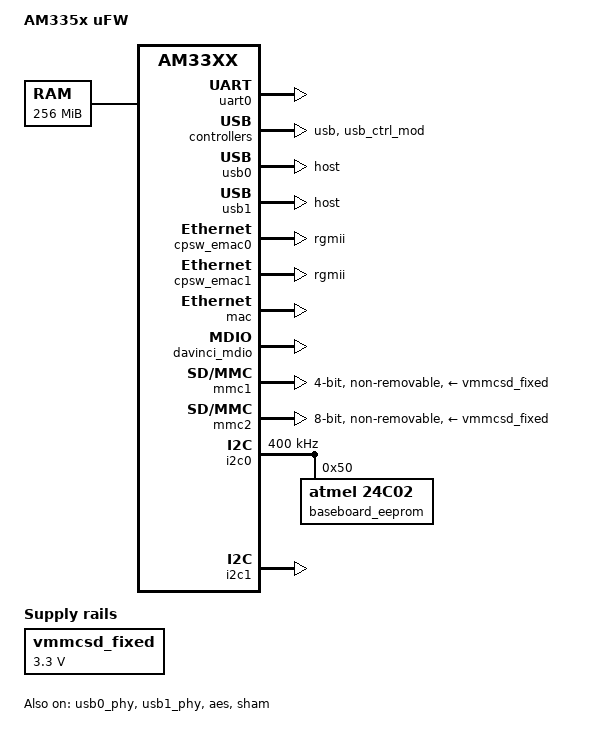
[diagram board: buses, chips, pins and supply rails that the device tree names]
/*-
 * Copyright (c) 2016, 2017 Rubicon Communications, LLC (Netgate)
 * All rights reserved.
 *
 * Redistribution and use in source and binary forms, with or without
 * modification, are permitted provided that the following conditions
 * are met:
 * 1. Redistributions of source code must retain the above copyright
 *    notice, this list of conditions and the following disclaimer.
 * 2. Redistributions in binary form must reproduce the above copyright
 *    notice, this list of conditions and the following disclaimer in the
 *    documentation and/or other materials provided with the distribution.
 *
 * THIS SOFTWARE IS PROVIDED BY THE AUTHOR AND CONTRIBUTORS ``AS IS'' AND
 * ANY EXPRESS OR IMPLIED WARRANTIES, INCLUDING, BUT NOT LIMITED TO, THE
 * IMPLIED WARRANTIES OF MERCHANTABILITY AND FITNESS FOR A PARTICULAR PURPOSE
 * ARE DISCLAIMED.  IN NO EVENT SHALL THE AUTHOR OR CONTRIBUTORS BE LIABLE
 * FOR ANY DIRECT, INDIRECT, INCIDENTAL, SPECIAL, EXEMPLARY, OR CONSEQUENTIAL
 * DAMAGES (INCLUDING, BUT NOT LIMITED TO, PROCUREMENT OF SUBSTITUTE GOODS
 * OR SERVICES; LOSS OF USE, DATA, OR PROFITS; OR BUSINESS INTERRUPTION)
 * HOWEVER CAUSED AND ON ANY THEORY OF LIABILITY, WHETHER IN CONTRACT, STRICT
 * LIABILITY, OR TORT (INCLUDING NEGLIGENCE OR OTHERWISE) ARISING IN ANY WAY
 * OUT OF THE USE OF THIS SOFTWARE, EVEN IF ADVISED OF THE POSSIBILITY OF
 * SUCH DAMAGE.
 * 
 * $FreeBSD$
 */

/dts-v1/;

#include "am33xx.dtsi"

/ {
	model = "AM335x uFW";
	compatible = "ti,am335x-ufw", "ti,am335x-ubmc", "ti,am33xx";

	memory {
		device_type = "memory";
		reg = <0x80000000 0x10000000>; /* 256 MB */
	};

	vmmcsd_fixed: fixedregulator@0 {
		compatible = "regulator-fixed";
		regulator-name = "vmmcsd_fixed";
		regulator-min-microvolt = <3300000>;
		regulator-max-microvolt = <3300000>;
	};
};

&am33xx_pinmux {
	pinctrl-names = "default";
	pinctrl-0 = <&clkout2_pin>;

	i2c0_pins: pinmux_i2c0_pins {
		pinctrl-single,pins = <
			AM33XX_IOPAD(0x988, PIN_INPUT_PULLUP | MUX_MODE0)	/* i2c0_sda.i2c0_sda */
			AM33XX_IOPAD(0x98c, PIN_INPUT_PULLUP | MUX_MODE0)	/* i2c0_scl.i2c0_scl */
		>;
	};

	i2c1_pins: pinmux_i2c1_pins {
		pinctrl-single,pins = <
			AM33XX_IOPAD(0x968, PIN_INPUT_PULLUP | MUX_MODE3)	/* uart0_ctsn.i2c1_sda */
			AM33XX_IOPAD(0x96c, PIN_INPUT_PULLUP | MUX_MODE3)	/* uart0_rtsn.i2c1_scl */
		>;
	};

	uart0_pins: pinmux_uart0_pins {
		pinctrl-single,pins = <
			AM33XX_IOPAD(0x970, PIN_INPUT_PULLUP | MUX_MODE0)	/* uart0_rxd.uart0_rxd */
			AM33XX_IOPAD(0x974, PIN_OUTPUT_PULLDOWN | MUX_MODE0)	/* uart0_txd.uart0_txd */
		>;
	};

	clkout2_pin: pinmux_clkout2_pin {
		pinctrl-single,pins = <
			AM33XX_IOPAD(0x9b4, PIN_OUTPUT_PULLDOWN | MUX_MODE3)	/* xdma_event_intr1.clkout2 */
		>;
	};

	cpsw_default: cpsw_default {
		pinctrl-single,pins = <
			/* Slave 1 */
			AM33XX_IOPAD(0x914, PIN_OUTPUT_PULLDOWN | MUX_MODE2)	/* mii1_txen.rgmii_1_txen */
			AM33XX_IOPAD(0x918, PIN_INPUT_PULLUP | MUX_MODE2)	/* mii1_rxdv.rgmii_1_rxdv */
			AM33XX_IOPAD(0x91c, PIN_OUTPUT_PULLDOWN | MUX_MODE2)	/* mii1_txd3.rgmii_1_txd3 */
			AM33XX_IOPAD(0x920, PIN_OUTPUT_PULLDOWN | MUX_MODE2)	/* mii1_txd2.rgmii_1_txd2 */
			AM33XX_IOPAD(0x924, PIN_OUTPUT_PULLDOWN | MUX_MODE2)	/* mii1_txd1.rgmii_1_txd1 */
			AM33XX_IOPAD(0x928, PIN_OUTPUT_PULLDOWN | MUX_MODE2)	/* mii1_txd0.rgmii_1_txd0 */
			AM33XX_IOPAD(0x92c, PIN_OUTPUT_PULLDOWN | MUX_MODE2)	/* mii1_txclk.rgmii_1_txclk */
			AM33XX_IOPAD(0x930, PIN_INPUT_PULLUP | MUX_MODE2)	/* mii1_rxclk.rgmii_1_rxclk */
			AM33XX_IOPAD(0x934, PIN_INPUT_PULLUP | MUX_MODE2)	/* mii1_rxd3.rgmii_1_rxd3 */
			AM33XX_IOPAD(0x938, PIN_INPUT_PULLUP | MUX_MODE2)	/* mii1_rxd2.rgmii_1_rxd2 */
			AM33XX_IOPAD(0x93c, PIN_INPUT_PULLUP | MUX_MODE2)	/* mii1_rxd1.rgmii_1_rxd1 */
			AM33XX_IOPAD(0x940, PIN_INPUT_PULLUP | MUX_MODE2)	/* mii1_rxd0.rgmii_1_rxd0 */

			/* Slave 2 */
			AM33XX_IOPAD(0x840, PIN_OUTPUT_PULLDOWN | MUX_MODE2)	/* gmpc_a0.rgmii_2_txen */
			AM33XX_IOPAD(0x844, PIN_INPUT_PULLUP | MUX_MODE2)	/* gmpc_a1.rgmii_2_rxdv */
			AM33XX_IOPAD(0x848, PIN_OUTPUT_PULLDOWN | MUX_MODE2)	/* gmpc_a2.rgmii_2_txd3 */
			AM33XX_IOPAD(0x84c, PIN_OUTPUT_PULLDOWN | MUX_MODE2)	/* gmpc_a3.rgmii_2_txd2 */
			AM33XX_IOPAD(0x850, PIN_OUTPUT_PULLDOWN | MUX_MODE2)	/* gmpc_a4.rgmii_2_txd1 */
			AM33XX_IOPAD(0x854, PIN_OUTPUT_PULLDOWN | MUX_MODE2)	/* gmpc_a5.rgmii_2_txd0 */
			AM33XX_IOPAD(0x858, PIN_OUTPUT_PULLDOWN | MUX_MODE2)	/* gmpc_a6.rgmii_2_txclk */
			AM33XX_IOPAD(0x85c, PIN_INPUT_PULLUP | MUX_MODE2)	/* gmpc_a7.rgmii_2_rxclk */
			AM33XX_IOPAD(0x860, PIN_INPUT_PULLUP | MUX_MODE2)	/* gmpc_a8.rgmii_2_rxd3 */
			AM33XX_IOPAD(0x864, PIN_INPUT_PULLUP | MUX_MODE2)	/* gmpc_a9.rgmii_2_rxd2 */
			AM33XX_IOPAD(0x868, PIN_INPUT_PULLUP | MUX_MODE2)	/* gmpc_a10.rgmii_2_rxd1 */
			AM33XX_IOPAD(0x86c, PIN_INPUT_PULLUP | MUX_MODE2)	/* gmpc_a11.rgmii_2_rxd0 */
		>;
	};

	cpsw_sleep: cpsw_sleep {
		pinctrl-single,pins = <
			/* Slave 1 reset value */
			AM33XX_IOPAD(0x914, PIN_INPUT_PULLDOWN | MUX_MODE7)
			AM33XX_IOPAD(0x918, PIN_INPUT_PULLDOWN | MUX_MODE7)
			AM33XX_IOPAD(0x91c, PIN_INPUT_PULLDOWN | MUX_MODE7)
			AM33XX_IOPAD(0x920, PIN_INPUT_PULLDOWN | MUX_MODE7)
			AM33XX_IOPAD(0x924, PIN_INPUT_PULLDOWN | MUX_MODE7)
			AM33XX_IOPAD(0x928, PIN_INPUT_PULLDOWN | MUX_MODE7)
			AM33XX_IOPAD(0x92c, PIN_INPUT_PULLDOWN | MUX_MODE7)
			AM33XX_IOPAD(0x930, PIN_INPUT_PULLDOWN | MUX_MODE7)
			AM33XX_IOPAD(0x934, PIN_INPUT_PULLDOWN | MUX_MODE7)
			AM33XX_IOPAD(0x938, PIN_INPUT_PULLDOWN | MUX_MODE7)
			AM33XX_IOPAD(0x93c, PIN_INPUT_PULLDOWN | MUX_MODE7)
			AM33XX_IOPAD(0x940, PIN_INPUT_PULLDOWN | MUX_MODE7)

			/* Slave 2 reset value */
			AM33XX_IOPAD(0x840, PIN_INPUT_PULLDOWN | MUX_MODE7)
			AM33XX_IOPAD(0x844, PIN_INPUT_PULLDOWN | MUX_MODE7)
			AM33XX_IOPAD(0x848, PIN_INPUT_PULLDOWN | MUX_MODE7)
			AM33XX_IOPAD(0x84c, PIN_INPUT_PULLDOWN | MUX_MODE7)
			AM33XX_IOPAD(0x850, PIN_INPUT_PULLDOWN | MUX_MODE7)
			AM33XX_IOPAD(0x854, PIN_INPUT_PULLDOWN | MUX_MODE7)
			AM33XX_IOPAD(0x858, PIN_INPUT_PULLDOWN | MUX_MODE7)
			AM33XX_IOPAD(0x85c, PIN_INPUT_PULLDOWN | MUX_MODE7)
			AM33XX_IOPAD(0x860, PIN_INPUT_PULLDOWN | MUX_MODE7)
			AM33XX_IOPAD(0x864, PIN_INPUT_PULLDOWN | MUX_MODE7)
			AM33XX_IOPAD(0x868, PIN_INPUT_PULLDOWN | MUX_MODE7)
			AM33XX_IOPAD(0x86c, PIN_INPUT_PULLDOWN | MUX_MODE7)
		>;
	};

	davinci_mdio_default: davinci_mdio_default {
		pinctrl-single,pins = <
			/* MDIO */
			AM33XX_IOPAD(0x948, PIN_INPUT_PULLUP | SLEWCTRL_FAST | MUX_MODE0)	/* mdio_data.mdio_data */
			AM33XX_IOPAD(0x94c, PIN_OUTPUT_PULLUP | MUX_MODE0)			/* mdio_clk.mdio_clk */
		>;
	};

	davinci_mdio_sleep: davinci_mdio_sleep {
		pinctrl-single,pins = <
			/* MDIO reset value */
			AM33XX_IOPAD(0x948, PIN_INPUT_PULLDOWN | MUX_MODE7)
			AM33XX_IOPAD(0x94c, PIN_INPUT_PULLDOWN | MUX_MODE7)
		>;
	};

	mmc1_pins: pinmux_mmc1_pins {
		pinctrl-single,pins = <
			AM33XX_IOPAD(0x8f0, PIN_INPUT_PULLUP | MUX_MODE0) /* mmc0_dat3.mmc0_dat3 */
			AM33XX_IOPAD(0x8f4, PIN_INPUT_PULLUP | MUX_MODE0) /* mmc0_dat2.mmc0_dat2 */
			AM33XX_IOPAD(0x8f8, PIN_INPUT_PULLUP | MUX_MODE0) /* mmc0_dat1.mmc0_dat1 */
			AM33XX_IOPAD(0x8fc, PIN_INPUT_PULLUP | MUX_MODE0) /* mmc0_dat0.mmc0_dat0 */
			AM33XX_IOPAD(0x900, PIN_INPUT_PULLUP | MUX_MODE0) /* mmc0_clk.mmc0_clk */
			AM33XX_IOPAD(0x904, PIN_INPUT_PULLUP | MUX_MODE0) /* mmc0_cmd.mmc0_cmd */
			AM33XX_IOPAD(0x960, PIN_INPUT_PULLUP | MUX_MODE5) /* spi0_cs1.mmc0_cd */
		>;
	};

	emmc_pins: pinmux_emmc_pins {
		pinctrl-single,pins = <
			AM33XX_IOPAD(0x994, PIN_INPUT_PULLUP | MUX_MODE4) /* mcasp0_fsx.mmc1_cd */
			AM33XX_IOPAD(0x880, PIN_INPUT_PULLUP | MUX_MODE2) /* gpmc_csn1.mmc1_clk */
			AM33XX_IOPAD(0x884, PIN_INPUT_PULLUP | MUX_MODE2) /* gpmc_csn2.mmc1_cmd */
			AM33XX_IOPAD(0x800, PIN_INPUT_PULLUP | MUX_MODE1) /* gpmc_ad0.mmc1_dat0 */
			AM33XX_IOPAD(0x804, PIN_INPUT_PULLUP | MUX_MODE1) /* gpmc_ad1.mmc1_dat1 */
			AM33XX_IOPAD(0x808, PIN_INPUT_PULLUP | MUX_MODE1) /* gpmc_ad2.mmc1_dat2 */
			AM33XX_IOPAD(0x80c, PIN_INPUT_PULLUP | MUX_MODE1) /* gpmc_ad3.mmc1_dat3 */
			AM33XX_IOPAD(0x810, PIN_INPUT_PULLUP | MUX_MODE1) /* gpmc_ad4.mmc1_dat4 */
			AM33XX_IOPAD(0x814, PIN_INPUT_PULLUP | MUX_MODE1) /* gpmc_ad5.mmc1_dat5 */
			AM33XX_IOPAD(0x818, PIN_INPUT_PULLUP | MUX_MODE1) /* gpmc_ad6.mmc1_dat6 */
			AM33XX_IOPAD(0x81c, PIN_INPUT_PULLUP | MUX_MODE1) /* gpmc_ad7.mmc1_dat7 */
		>;
	};
};

&uart0 {
	pinctrl-names = "default";
	pinctrl-0 = <&uart0_pins>;

	status = "okay";
};

&usb {
	status = "okay";
};

&usb_ctrl_mod {
	status = "okay";
};

&usb0_phy {
	status = "okay";
};

&usb1_phy {
	status = "okay";
};

&usb0 {
	status = "okay";
	dr_mode = "host";
};

&usb1 {
	status = "okay";
	dr_mode = "host";
};

&cppi41dma  {
	status = "okay";
};

&cpsw_emac0 {
	phy_id = <&davinci_mdio>, <1>;
	phy-mode = "rgmii";
	dual_emac_res_vlan = <4071>;
};

&cpsw_emac1 {
	phy_id = <&davinci_mdio>, <2>;
	phy-mode = "rgmii";
	dual_emac_res_vlan = <4072>;
};

&mac {
	pinctrl-names = "default", "sleep";
	pinctrl-0 = <&cpsw_default>;
	pinctrl-1 = <&cpsw_sleep>;
	active_slave = <1>;
	status = "okay";
	dual_emac;
	txen-skew-ps = <0>;
	rxdv-skew-ps = <1400>;
	rxd0-skew-ps = <1400>;
	rxd1-skew-ps = <1400>;
	rxd2-skew-ps = <1400>;
	rxd3-skew-ps = <1400>;
	txd0-skew-ps = <0>;
	txd1-skew-ps = <0>;
	txd2-skew-ps = <0>;
	txd3-skew-ps = <0>;
	rxc-skew-ps = <4400>;
	txc-skew-ps = <6200>;
};

&davinci_mdio {
	pinctrl-names = "default", "sleep";
	pinctrl-0 = <&davinci_mdio_default>;
	pinctrl-1 = <&davinci_mdio_sleep>;
	status = "okay";
};

&aes {
	status = "okay";
};

&sham {
	status = "okay";
};

&mmc1 {
	vmmc-supply = <&vmmcsd_fixed>;
	pinctrl-names = "default";
	pinctrl-0 = <&mmc1_pins>;
	bus-width = <4>;
	non-removable;
	wp-disable;
	status = "okay";
};

&mmc2 {
	vmmc-supply = <&vmmcsd_fixed>;
	pinctrl-names = "default";
	pinctrl-0 = <&emmc_pins>;
	bus-width = <8>;
	ti,dual-volt;
	non-removable;
	status = "okay";
};

&i2c0 {
	pinctrl-names = "default";
	pinctrl-0 = <&i2c0_pins>;

	status = "okay";
	clock-frequency = <400000>;

	baseboard_eeprom: baseboard_eeprom@50 {
		compatible = "atmel,24c02";
		reg = <0x50>;

		#address-cells = <1>;
		#size-cells = <1>;
		baseboard_data: baseboard_data@0 {
			reg = <0 0x100>;
		};
	};
};

&i2c1 {
	pinctrl-names = "default";
	pinctrl-0 = <&i2c1_pins>;

	status = "okay";
};
